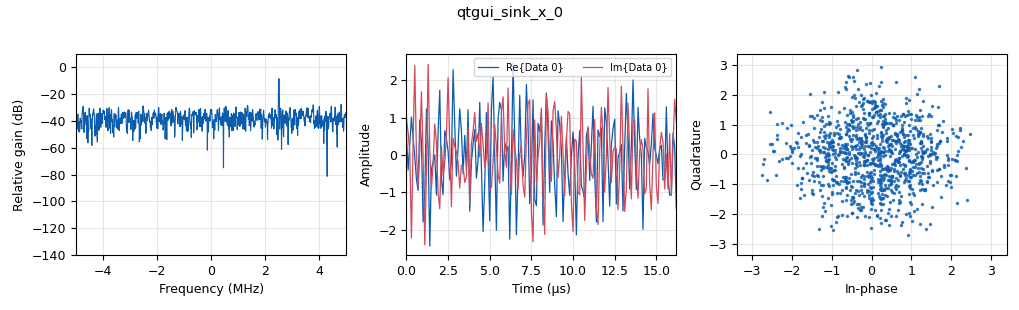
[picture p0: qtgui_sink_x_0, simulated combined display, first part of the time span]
options:
  parameters:
    author: Others and Seth Kintigh
    copyright: Nada
    generate_options: qt_gui
    id: Freq_and_power_detect_tutorial
    output_language: python
    title: Detect peak frequencey and power in a signal
  states: {}

blocks:
- name: bin_size
  id: variable
  parameters:
    comment: Size of our FFT
    value: '1024'
  states: {}
- name: freq
  id: variable_qtgui_range
  parameters:
    comment: |-
      Set the Tx frequency at 
      run time with a knob.
      Modify to allow freqs
      above the Nyquist rate
      and see what happens.
    gui_hint: 0,0,
    label: Tx Freq
    min_len: '100'
    orient: Qt.Horizontal
    start: '0'
    step: '100000'
    stop: nyquist_rate
    value: nyquist_rate/2
    widget: dial
  states: {}
- name: nyquist_rate
  id: variable
  parameters:
    comment: |-
      max freq allowed 
      by our sample rate
    value: samp_rate/2
  states: {}
- name: power
  id: variable_qtgui_range
  parameters:
    comment: |-
      Set the Tx power at 
      run time with a knob
    gui_hint: 1,0
    label: Tx Power
    min_len: '30'
    orient: Qt.Horizontal
    start: '0'
    step: '.1'
    stop: '3'
    value: '1'
    widget: dial
  states: {}
- name: samp_rate
  id: variable
  parameters:
    comment: |-
      sample rate for
      this example
    value: 10e6
  states: {}
- name: analog_noise_source_x_1
  id: analog_noise_source_x
  parameters:
    amp: '1'
    comment: |-
      Background noise.
      I turned the block 
      around to make 
      more room.
    noise_type: analog.GR_GAUSSIAN
    seed: '0'
    type: complex
  states: {}
- name: analog_sig_source_x_0
  id: analog_sig_source_x
  parameters:
    amp: power
    comment: Our "transmitter"
    freq: freq
    offset: '0'
    phase: '0'
    samp_rate: samp_rate
    type: complex
    waveform: analog.GR_COS_WAVE
  states: {}
- name: blocks_add_const_vxx_0
  id: blocks_add_const_vxx
  parameters:
    comment: Recenter at 0
    const: '-nyquist_rate'
    type: float
  states: {}
- name: blocks_add_xx_0
  id: blocks_add_xx
  parameters:
    comment: |-
      add signal 
      to noise
    type: complex
  states: {}
- name: blocks_argmax_xx_0
  id: blocks_argmax_xx
  parameters:
    comment: |-
      Finds the INDEX of the 
      max value in a vector.
      That index is a short int.
    num_inputs: '1'
    type: float
    vlen: '1024'
  states: {}
- name: blocks_complex_to_mag_squared_0
  id: blocks_complex_to_mag_squared
  parameters:
    comment: |-
      Injests a vector of complex values
      Outputs a vector of floats
    vlen: bin_size
  states: {}
- name: blocks_max_xx_0
  id: blocks_max_xx
  parameters:
    comment: |-
      Finds the max VALUE.
      Outputs one float value per vector.
    type: float
    vlen: bin_size
    vlen_out: '1'
  states: {}
- name: blocks_multiply_const_xx_0
  id: blocks_multiply_const_xx
  parameters:
    comment: adjust power output from FFT
    const: 1/bin_size/bin_size
    type: float
  states: {}
- name: blocks_multiply_const_xx_0_0
  id: blocks_multiply_const_xx
  parameters:
    const: '10'
    type: float
  states: {}
- name: blocks_multiply_const_xx_0_1
  id: blocks_multiply_const_xx
  parameters:
    comment: |-
      Adjust for freq width
      of FFT bins
    const: samp_rate/1024
    type: float
  states: {}
- name: blocks_nlog10_ff_0
  id: blocks_nlog10_ff
  parameters:
    comment: Convert to dB of power
    k: '0'
  states: {}
- name: blocks_null_sink_0
  id: blocks_null_sink
  parameters:
    comment: |-
      Null sinks eat unwanted output. 
      Some outputs must be used by a block or you get an error.
    type: short
  states: {}
- name: blocks_short_to_float_0
  id: blocks_short_to_float
  parameters:
    scale: '1'
  states: {}
- name: blocks_stream_to_vector_0
  id: blocks_stream_to_vector
  parameters:
    comment: |-
      Emits vectors 1024 long 
      at 1/1024th the sample rate.
      So sample rate is different
      from here on.
    num_items: bin_size
    type: complex
  states: {}
- name: fft_vxx_0
  id: fft_vxx
  parameters:
    fft_size: bin_size
    forward: 'True'
    shift: 'True'
    type: complex
    window: window.blackmanharris(1024)
  states: {}
- name: note_0_0_0
  id: note
  parameters:
    note: Turns Data into Vectors
  states: {}
- name: note_0_0_0_0
  id: note
  parameters:
    note: Time Domain into Frequency Domain
  states: {}
- name: note_0_0_0_0_0
  id: note
  parameters:
    note: Complex to Magnitude^2
  states: {}
- name: note_0_0_0_0_0_1
  id: note
  parameters:
    note: Finds Max of Bin
  states: {}
- name: qtgui_number_sink_0
  id: qtgui_number_sink
  parameters:
    comment: |-
      Display peak power on 
      a bar
    graph_type: qtgui.NUM_GRAPH_VERT
    gui_hint: 1,4
    label1: Peak signal
    min: '-30'
    name: '"Peak Rx Power"'
    type: float
    unit1: Db
    update_time: '0.05'
  states: {}
- name: qtgui_number_sink_0_0
  id: qtgui_number_sink
  parameters:
    comment: |-
      Display peak frequency
      on a number bar
    factor1: '1e-6'
    graph_type: qtgui.NUM_GRAPH_VERT
    gui_hint: 0,4
    max: nyquist_rate/1e6
    min: '0'
    name: '"Peak Rx Frequency"'
    type: float
    unit1: MHz
    update_time: '0.05'
  states: {}
- name: qtgui_sink_x_0
  id: qtgui_sink_x
  parameters:
    bw: samp_rate
    comment: |-
      Multiple displays of a signal.
      When running, select the waterfall
      tab and slowly adjust the freq knob
    fc: '0'
    fftsize: bin_size
    gui_hint: 0,1, 2,3
    showrf: 'True'
    type: complex
    wintype: firdes.WIN_BLACKMAN_hARRIS
  states: {}

connections:
- [analog_noise_source_x_1, '0', blocks_add_xx_0, '0']
- [analog_sig_source_x_0, '0', blocks_add_xx_0, '1']
- [blocks_add_const_vxx_0, '0', qtgui_number_sink_0_0, '0']
- [blocks_add_xx_0, '0', blocks_stream_to_vector_0, '0']
- [blocks_add_xx_0, '0', qtgui_sink_x_0, '0']
- [blocks_argmax_xx_0, '0', blocks_short_to_float_0, '0']
- [blocks_argmax_xx_0, '1', blocks_null_sink_0, '0']
- [blocks_complex_to_mag_squared_0, '0', blocks_argmax_xx_0, '0']
- [blocks_complex_to_mag_squared_0, '0', blocks_max_xx_0, '0']
- [blocks_max_xx_0, '0', blocks_multiply_const_xx_0, '0']
- [blocks_multiply_const_xx_0, '0', blocks_nlog10_ff_0, '0']
- [blocks_multiply_const_xx_0_0, '0', qtgui_number_sink_0, '0']
- [blocks_multiply_const_xx_0_1, '0', blocks_add_const_vxx_0, '0']
- [blocks_nlog10_ff_0, '0', blocks_multiply_const_xx_0_0, '0']
- [blocks_short_to_float_0, '0', blocks_multiply_const_xx_0_1, '0']
- [blocks_stream_to_vector_0, '0', fft_vxx_0, '0']
- [fft_vxx_0, '0', blocks_complex_to_mag_squared_0, '0']

metadata:
  file_format: 1
